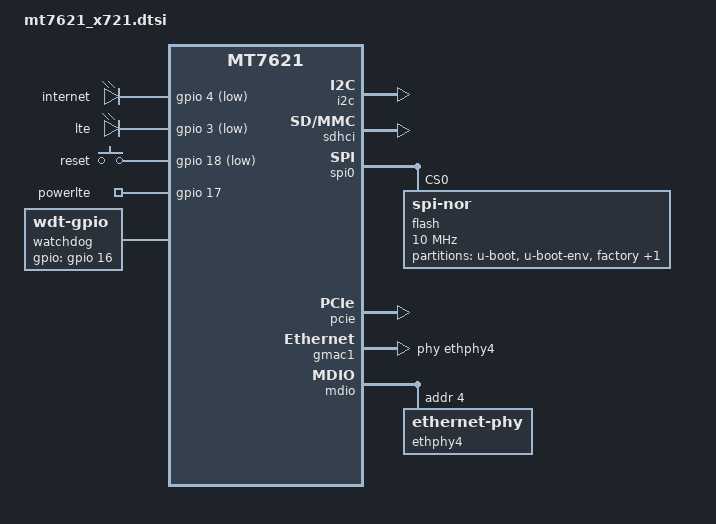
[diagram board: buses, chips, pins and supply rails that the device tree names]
// SPDX-License-Identifier: GPL-2.0-or-later OR MIT

#include "mt7621.dtsi"

#include <dt-bindings/gpio/gpio.h>
#include <dt-bindings/input/input.h>
#include <dt-bindings/leds/common.h>

/ {
	compatible = "huasifei,x721", "mediatek,mt7621-soc";

	aliases {
		led-boot = &led_status;
		led-failsafe = &led_status;
		led-running = &led_status;
		led-upgrade = &led_status;
		label-mac-device = &gmac0;
	};

	chosen {
		bootargs = "console=ttyS0,115200";
	};

	leds {
		compatible = "gpio-leds";

		led_status: status {
			label = "internet";
			gpios = <&gpio 4 GPIO_ACTIVE_LOW>;
		};
		lte {
			label = "lte";
			gpios = <&gpio 3 GPIO_ACTIVE_LOW>;
		};
	};

	keys {
		compatible = "gpio-keys-polled";
		poll-interval = <50>;
		pinctrl-names = "default";

		reset {
			label = "reset";
			gpios = <&gpio 18 GPIO_ACTIVE_LOW>;
			linux,code = <KEY_RESTART>;
		};
	};

	gpio_export {
		compatible = "gpio-export";
		#size-cells = <0>;

		power_5g {
			gpio-export,name = "powerlte";
			gpio-export,output = <1>;
			gpios = <&gpio 17 GPIO_ACTIVE_HIGH>;
		};

	};

	watchdog {
		compatible = "linux,wdt-gpio";
		gpios = <&gpio 16 GPIO_ACTIVE_HIGH>;
		hw_algo = "toggle";
		hw_margin_ms = <1300>;
		always-running;
	};

};

&i2c {
	status = "okay";
};

&sdhci {
	status = "okay";
};

&spi0 {
	status = "okay";

	flash@0 {
		compatible = "jedec,spi-nor";
		reg = <0>;
		spi-max-frequency = <10000000>;

		partitions {
			compatible = "fixed-partitions";
			#address-cells = <1>;
			#size-cells = <1>;

			partition@0 {
				label = "u-boot";
				reg = <0x0 0x30000>;
				read-only;
			};

			partition@30000 {
				label = "u-boot-env";
				reg = <0x30000 0x10000>;
				read-only;
			};

			factory: partition@40000 {
				label = "factory";
				reg = <0x40000 0x10000>;
				
				compatible = "nvmem-cells";
				#address-cells = <1>;
				#size-cells = <1>;
			};

			firmware: partition@50000 {
				compatible = "denx,uimage";
				label = "firmware";
			};
		};
	};
};

&pcie {
	status = "okay";
};

&pcie1 {
	wifi@0,0 {
		reg = <0x0 0 0 0 0>;
		mediatek,mtd-eeprom = <&factory 0x00>;
		nvmem-cells = <&macaddr_factory_004>;
		nvmem-cell-names = "mac-address";
		mac-address-increment = <1>;
	};
};

&gmac0 {
	nvmem-cells = <&macaddr_factory_004>;
	nvmem-cell-names = "mac-address";
	mac-address-increment = <3>;
};

&gmac1 {
	status = "okay";
	label = "wan";
	phy-handle = <&ethphy4>;

	nvmem-cells = <&macaddr_factory_004>;
	nvmem-cell-names = "mac-address";
	mac-address-increment = <4>;
};

&mdio {
	ethphy4: ethernet-phy@4 {
		reg = <4>;
	};
};

&switch0 {
	ports {

		port@0 {
			status = "okay";
			label = "lan1";
		};

		port@1 {
			status = "okay";
			label = "lan2";
		};

		port@2 {
			status = "okay";
			label = "lan3";
		};
	};
};

&state_default {
	gpio {
		groups = "i2c","wdt","jtag";
		function = "gpio";
	};
};

&factory {
	compatible = "nvmem-cells";
	#address-cells = <1>;
	#size-cells = <1>;

	macaddr_factory_004: macaddr@004 {
		reg = <0x004 0x6>;
	};
};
